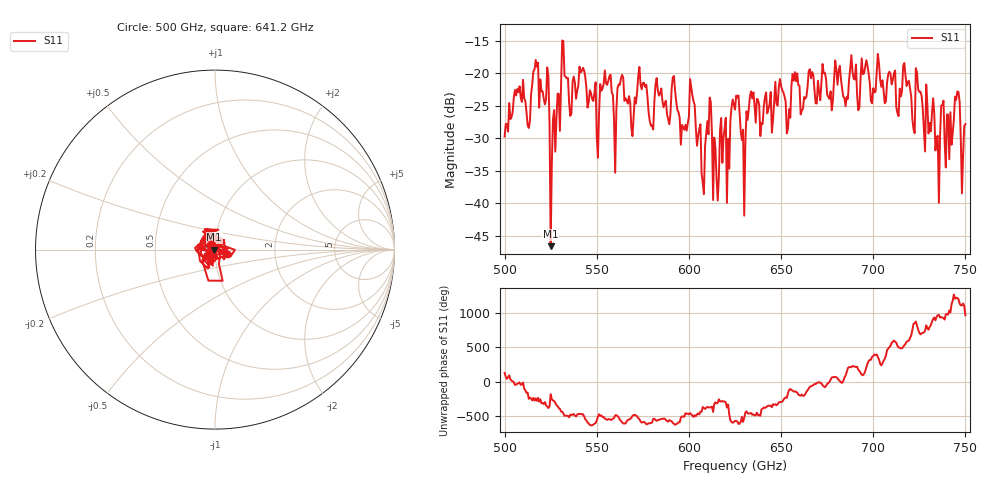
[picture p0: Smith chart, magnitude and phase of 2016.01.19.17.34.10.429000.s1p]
!Created with skrf (http://scikit-rf.org).
# GHz S RI R 50.0
!freq ReS11 ImS11
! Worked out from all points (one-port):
!   401 points, 500 GHz to 750 GHz, reference 50 ohm
!   lowest |S11| = -46.6 dB at 525 GHz (marker M1), VSWR 1.01, Z = 49.5 + j0.0357 ohm
!   |S11| at or under -10 dB: start of sweep to end of sweep
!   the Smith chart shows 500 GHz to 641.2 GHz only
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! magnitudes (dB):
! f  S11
! 500 GHz  -29.7
! 506.9 GHz  -22.4
! 513.1 GHz  -28.4
! 516.9 GHz  -17.9
! 523.1 GHz  -19.1
! 525 GHz  -46.6
! 531.2 GHz  -15.0
! 550 GHz  -29.7
! 562.5 GHz  -21.8
! 568.8 GHz  -28.4
! 573.8 GHz  -21.7
! 579.4 GHz  -28.0
! 583.1 GHz  -22.7
! 593.8 GHz  -25.7
! 601.9 GHz  -23.4
! 608.1 GHz  -38.6
! 611.2 GHz  -23.7
! 614.4 GHz  -31.5
! 625 GHz  -25.6
! 629.4 GHz  -28.7
! 633.8 GHz  -22.8
! 653.8 GHz  -28.5
! 656.2 GHz  -20.1
! 687.5 GHz  -19.3
! 718.8 GHz  -21.3
! 735 GHz  -29.6
! 745.6 GHz  -22.8
! 750 GHz  -27.8
